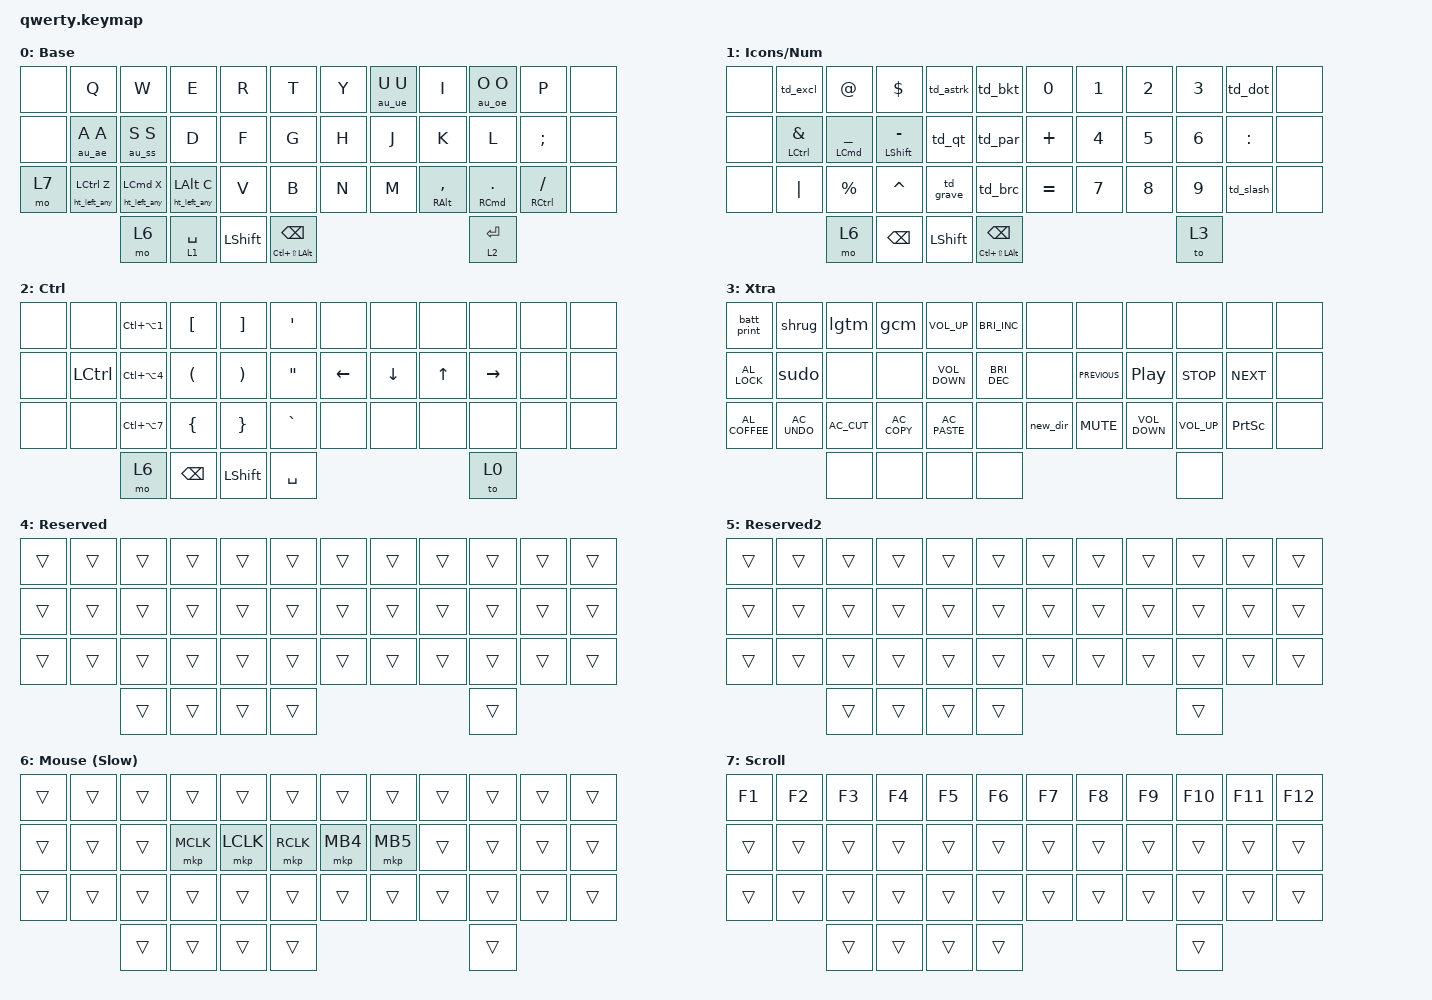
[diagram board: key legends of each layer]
/* upstream bindings and behaviors */
#include <behaviors.dtsi>
#include <dt-bindings/zmk/bt.h>
#include <dt-bindings/zmk/ext_power.h>
#include <dt-bindings/zmk/keys.h>
#include <dt-bindings/zmk/mouse.h>
#include <dt-bindings/zmk/outputs.h>
#include <behaviors/mouse_keys.dtsi>

/* local overlays */
#include "macros.dtsi"
#include "behaviors.dtsi"
#include "combos-cradio.dtsi"

#define L0 0
#define L1 1
#define L2 2
#define L3 3

// Match the cradio mod-tap tuning.
&mt {
    flavor = "tap-preferred";
    tapping-term-ms = <200>;
    quick-tap-ms = <125>;
};

/ {
/* --- KEYMAP CONFIG --- */
// Charybdis Mini (6x3 + 5 thumbs) key positions:
// ╭──────┬──────┬──────┬──────┬──────┬──────╮  ╭──────┬──────┬──────┬──────┬──────┬──────╮
//    00     01     02     03     04     05        06     07     08     09     10     11
// ├──────┼──────┼──────┼──────┼──────┼──────┤  ├──────┼──────┼──────┼──────┼──────┼──────┤
//    12     13     14     15     16     17        18     19     20     21     22     23
// ├──────┼──────┼──────┼──────┼──────┼──────┤  ├──────┼──────┼──────┼──────┼──────┼──────┤
//    24     25     26     27     28     29        30     31     32     33     34     35
// ╰──────┴──────┴──────┼──────┼──────┼──────┤  ├──────┼──────┼──────┴──────┴──────┴──────╯
//                         36     37     38        39     40
//                      ╰──────┴──────┴──────╯  ╰──────┴──────╯
//
// Ported from cradio (5x3 + thumbs) by treating the *outermost* Charybdis columns as non-existent:
// Left outer column (00/12/24) and right outer column (11/23/35) are set to &none.

    keymap {
        compatible = "zmk,keymap";

        layer_0 {
            display-name = "Base";
            bindings = <
                &none   &kp Q                 &kp W                &kp E                &kp R               &kp T              &kp Y               &au_ue U U            &kp I                  &au_oe O O             &kp P                    &none
                &none   &au_ae A A            &au_ss S S           &kp D                &kp F               &kp G              &kp H               &kp J                  &kp K                  &kp L                   &kp SEMI                 &none
                &mo 7   &ht_left_any LCTRL Z  &ht_left_any LCMD X  &ht_left_any LALT C  &kp V               &kp B              &kp N               &kp M                  &ht_right RALT COMMA   &ht_right RCMD DOT      &ht_right RCTRL SLASH    &none
                                               &mo 6                &lt L1 SPACE          &kp LSHFT           &mt LC(LS(LALT)) BSPC                                                          &lt L2 ENTER
            >;
        };

        layer_1 {
            display-name = "Icons/Num";
            bindings = <
                &none   &td_excl              &kp AT               &kp DLLR             &td_astrk           &td_bkt            &kp N0              &kp N1                 &kp N2                 &kp N3                  &td_dot                  &none
                &none   &ht_left LCTRL AMPS   &ht_left LCMD UNDER  &ht_left LSHFT MINUS &td_qt              &td_par            &kp PLUS            &kp N4                 &kp N5                 &kp N6                  &kp COLON                &none
                &none   &kp PIPE              &kp PRCNT            &kp CARET            &td_grave           &td_brc            &kp EQUAL           &kp N7                 &kp N8                 &kp N9                  &td_slash                &none
                                              &mo 6               &kp BSPC             &kp LSHFT           &mt LC(LS(LALT)) BSPC                                                         &to L3
            >;
        };

        layer_2 {
            display-name = "Ctrl";
            bindings = <
                &none   &none                 &kp LC(LA(N1))       &kp LBKT             &kp RBKT            &kp APOS           &none               &none                  &none                  &none                   &none                    &none
                &none   &kp LCTRL             &kp LC(LA(N4))       &kp LPAR             &kp RPAR            &kp DQT            &kp LEFT            &kp DOWN               &kp UP                 &kp RIGHT               &none                    &none
                &none   &none                 &kp LC(LA(N7))       &kp LBRC             &kp RBRC            &kp GRAVE          &none               &none                  &none                  &none                   &none                    &none
                                              &mo 6                &kp BSPC             &kp LSHFT           &kp SPACE                                                                  &to L0
            >;
        };

        layer_3 {
            display-name = "Xtra";
            bindings = <
                &batt_print     &shrug          &lgtm           &gcm            &kp C_VOLUME_UP    &kp C_BRIGHTNESS_INC  &none           &none            &none              &none             &none                &none
                &kp C_AL_LOCK   &sudo           &none           &none           &kp C_VOLUME_DOWN  &kp C_BRIGHTNESS_DEC  &none           &kp C_PREVIOUS   &kp C_PLAY_PAUSE   &kp C_STOP        &kp C_NEXT           &none
                &kp C_AL_COFFEE &kp C_AC_UNDO   &kp C_AC_CUT    &kp C_AC_COPY   &kp C_AC_PASTE     &none                 &new_dir        &kp K_MUTE       &kp C_VOLUME_DOWN  &kp C_VOLUME_UP   &kp PRINTSCREEN      &none
                                                                                                     &none               &none            &none               &none             &none
            >;
        };

        // Keep indices aligned with this repo's pointer processing (slow=6, scroll=7).
        layer_4 {
            display-name = "Reserved";
            bindings = <
                &trans  &trans  &trans  &trans  &trans  &trans  &trans  &trans  &trans  &trans  &trans  &trans
                &trans  &trans  &trans  &trans  &trans  &trans  &trans  &trans  &trans  &trans  &trans  &trans
                &trans  &trans  &trans  &trans  &trans  &trans  &trans  &trans  &trans  &trans  &trans  &trans
                                &trans  &trans  &trans  &trans  &trans
            >;
        };

        layer_5 {
            display-name = "Reserved2";
            bindings = <
                &trans  &trans  &trans  &trans  &trans  &trans  &trans  &trans  &trans  &trans  &trans  &trans
                &trans  &trans  &trans  &trans  &trans  &trans  &trans  &trans  &trans  &trans  &trans  &trans
                &trans  &trans  &trans  &trans  &trans  &trans  &trans  &trans  &trans  &trans  &trans  &trans
                                &trans  &trans  &trans  &trans  &trans
            >;
        };

        layer_6 {
            display-name = "Mouse (Slow)";
            bindings = <
                &trans  &trans  &trans  &trans     &trans     &trans     &trans    &trans    &trans  &trans  &trans  &trans
                &trans  &trans  &trans  &mkp MCLK  &mkp LCLK  &mkp RCLK  &mkp MB4  &mkp MB5  &trans  &trans  &trans  &trans
                &trans  &trans  &trans  &trans     &trans     &trans     &trans    &trans    &trans  &trans  &trans  &trans
                                &trans  &trans     &trans     &trans     &trans
            >;
        };

        layer_7 {
            display-name = "Scroll";
            bindings = <
                &kp F1  &kp F2  &kp F3  &kp F4  &kp F5  &kp F6  &kp F7  &kp F8  &kp F9  &kp F10  &kp F11  &kp F12
                &trans  &trans  &trans  &trans  &trans  &trans  &trans  &trans  &trans  &trans   &trans   &trans
                &trans  &trans  &trans  &trans  &trans  &trans  &trans  &trans  &trans  &trans   &trans   &trans
                                &trans  &trans  &trans  &trans  &trans
            >;
        };
    };
};
